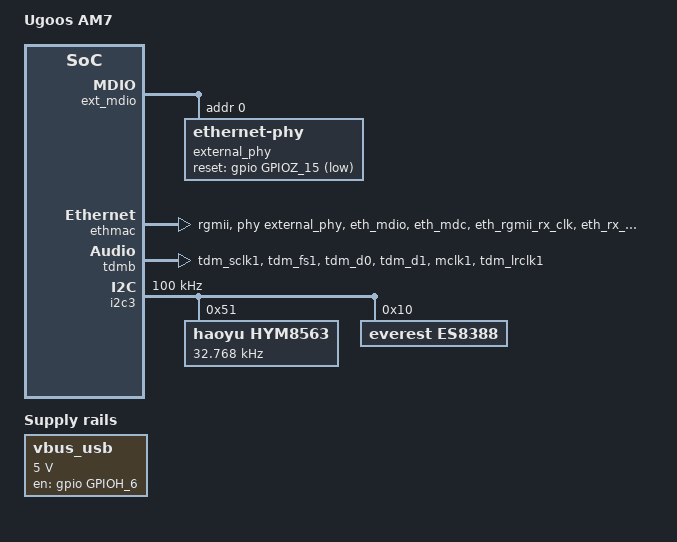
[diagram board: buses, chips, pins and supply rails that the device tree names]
#include "sc2_s905x4_ah212_linux.dts"
#include "coreelec_sc2_common.dtsi"

/ {
	model = "Ugoos AM7";
	coreelec-dt-id = "sc2_s905x4_ugoos_am7";

	/delete-node/ memory@00000000;
	/delete-node/ rtc;

	gpioleds {
		/* red led */
		net_red {
			label = "net_red";
			gpios = <&gpio GPIOD_11 GPIO_ACTIVE_LOW>;
			linux,default-trigger = "default-on";
			retain-state-suspended;
		};

		/* green led */
		net_green {
			label = "net_green";
			gpios = <&gpio GPIOD_10 GPIO_ACTIVE_HIGH>;
			linux,default-trigger = "default-on";
		};

		/* blue led */
		net_blue {
			label = "net_blue";
			gpios = <&gpio GPIOH_7 GPIO_ACTIVE_LOW>;
			linux,default-trigger = "default-on";
			retain-state-shutdown;
		};
	};

	aml_wifi {
		dhd_static_buf; /* if use bcm wifi, config dhd_static_buf */
	};

	auge_sound {
		/delete-property/ avout_mute-gpios;

		aml-audio-card,dai-link@1 {
			codec {
				sound-dai = <&es8388>;
			};
		};
	};

	cvbsout {
		/* default: auto,
		switch-default-enable;  force enable
		switch-default-disable; force disable */
		out-switch-gpios = <&gpio GPIOE_2 GPIO_ACTIVE_LOW>;
	};

	gpio_keypad {
		key-gpios = <&gpio GPIOD_3 GPIO_ACTIVE_HIGH>;
	};

	/delete-node/ adc_keypad;
	/delete-node/ dvb-extern;
	/delete-node/ dvb-demux;

	regulator-vbus_usb {
		compatible = "regulator-fixed";
		regulator-name = "vbus_usb";
		regulator-min-microvolt = <5000000>;
		regulator-max-microvolt = <5000000>;
		gpio = <&gpio GPIOH_6 GPIO_ACTIVE_HIGH>;
		enable-active-high;
		regulator-boot-on;
		regulator-always-on;
	};
};

&ext_mdio {
	external_phy: ethernet-phy@0 {
		reg = <0>;
		max-speed = <1000>;

		reset-assert-us = <10000>;
		reset-deassert-us = <30000>;
		reset-gpios = <&gpio GPIOZ_15 (GPIO_ACTIVE_LOW |
					GPIO_OPEN_DRAIN)>;
	};
};

&ethmac {
	pinctrl-0 = <&eth_pins>, <&eth_rgmii_pins>;
	pinctrl-names = "default";
	phy-handle = <&external_phy>;
	phy-mode = "rgmii";
	amlogic,tx-delay-ns = <2>;
	/delete-property/ mc_val;
};

&pinctrl_audio {
	tdm_d0_pins: tdm_d0_pin {
		mux {
			groups = "tdm_d0";
			function = "tdmoutb_lane0";
		};
	};

	tdm_d1_pins: tdm_d1_pin {
		mux {
			groups = "tdm_d1";
			function = "tdminb_lane1";
		};
	};

	tdm_clkb_pins: tdm_clkb_pin {
		mux {
			groups = "tdm_sclk1", "tdm_lrclk1";
			function = "tdm_clk_outb";
		};
	};
};

&tdmb {
	clocks = <&clkaudio CLKID_AUDIO_MCLK_B
			&clkaudio CLKID_AUDIO_MCLK_PAD1
			&clkc CLKID_MPLL2
			&clkaudio CLKID_AUDIO_SPDIFOUT_A>;
	pinctrl-0 = <&tdm_b
		&tdm_d0_pins
		&tdm_d1_pins
		&tdmb_mclk
		&tdm_clkb_pins>;
	/delete-property/ mclk_pad;
};

&periphs_pinctrl {
	tdmb_mclk: tdmb_mclk {
		mux { /* GPIOD_9 */
			groups = "mclk1";
			function = "mclk";
			drive-strength = <2>;
		};
	};

	tdm_b: tdm_b {
		mux { /* GPIOD_8, GPIOD_7, GPIOD_6, GPIOD_4 */
			groups = "tdm_sclk1",
				"tdm_fs1",
				"tdm_d0",
				"tdm_d1";
			function = "tdm";
		};
	};

	tdmin_b: tdmin_b {
		mux { /* GPIOD_4 */
			groups = "tdmb_din1";
			function = "tdma_in";
		};
	};

	spdifout_a_mute: spdifout_a_mute {
		mux { /* GPIOH_4 */
			groups = "GPIOH_4";
		};
	};

	eth_pins: eth {
		mux {
			groups = "eth_mdio",
				"eth_mdc",
				"eth_rgmii_rx_clk",
				"eth_rx_dv",
				"eth_rxd0",
				"eth_rxd1",
				"eth_txen",
				"eth_txd0",
				"eth_txd1";
			function = "eth";
			drive-strength-microamp = <4000>;
			bias-disable;
		};
	};

	eth_rgmii_pins: eth-rgmii {
		mux {
			groups = "eth_rxd2_rgmii",
				"eth_rxd3_rgmii",
				"eth_rgmii_tx_clk",
				"eth_txd2_rgmii",
				"eth_txd3_rgmii";
			function = "eth";
			drive-strength-microamp = <4000>;
			bias-disable;
		};
	};
};

&i2c2 {
	status = "disabled";
};

&i2c3 {
	status = "okay";
	clock-frequency = <100000>; /* default 100k */

	hym8563: hym8563@51 {
		compatible = "haoyu,hym8563";
		reg = <0x51>;
		#clock-cells = <0>;
		clock-frequency = <32768>;
		clock-output-names = "xin32k";
	};

	es8388: es8388@10 {
		status = "okay";
		compatible = "everest,es8388";
		#sound-dai-cells = <0>;
		reg = <0x10>;
		/*spk-con-gpio = <&gpio GPIOA_6 0x00>;*/
		def-vol = <0x1d>;
		def-dacvol = <0x0a>;
	};
};

&usb3_phy_v2 {
	default-host; // or default-otg, or nothing for auto
};
